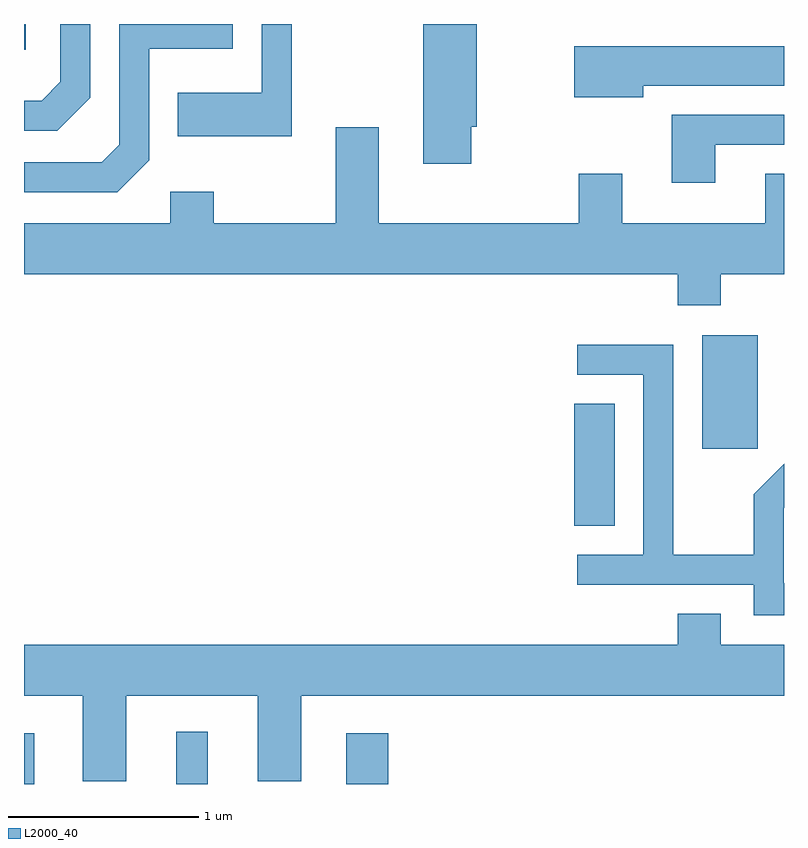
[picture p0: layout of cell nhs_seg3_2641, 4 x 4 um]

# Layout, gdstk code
import gdstk
lib = gdstk.Library(unit=1e-6, precision=1e-09)
def R(c, l, rs):  # rectangles x0, y0, x1, y1
    for r in rs: c.add(gdstk.rectangle(r[:2], r[2:], *l))
def P(c, l, *ps):  # polygons
    for p in ps: c.add(gdstk.Polygon(p, *l))
L2000_40 = (2000, 40)

nhs_seg3_2641 = lib.new_cell('nhs_seg3_2641')
R(nhs_seg3_2641, L2000_40, [(261.611,1229.892,261.664,1230.159), (262.411,1229.892,262.579,1230.168), (263.306,1229.892,263.529,1230.159), (264.506,1231.251,264.719,1231.894), (265.181,1231.656,265.474,1232.254), (261.611,1233.756,261.619,1233.892)])
P(nhs_seg3_2641, L2000_40, [(261.959,1233.504),(261.959,1233.892),(261.801,1233.892),(261.801,1233.587),(261.704,1233.489),(261.611,1233.489),(261.611,1233.331),(261.787,1233.331)],
  [(263.964,1233.351),(263.994,1233.351),(263.994,1233.892),(263.711,1233.892),(263.711,1233.156),(263.964,1233.156)],
  [(263.019,1233.892),(262.861,1233.892),(262.861,1233.529),(262.421,1233.529),(262.421,1233.301),(263.019,1233.301)],
  [(262.269,1233.174),(262.269,1233.761),(262.709,1233.761),(262.709,1233.892),(262.111,1233.892),(262.111,1233.257),(262.019,1233.164),(261.611,1233.164),(261.611,1233.006),(262.102,1233.006)],
  [(264.869,1233.566),(265.611,1233.566),(265.611,1233.774),(264.506,1233.774),(264.506,1233.506),(264.869,1233.506)],
  [(265.249,1233.256),(265.611,1233.256),(265.611,1233.414),(265.021,1233.414),(265.021,1233.056),(265.249,1233.056)],
  [(265.279,1232.576),(265.611,1232.576),(265.611,1233.104),(265.511,1233.104),(265.511,1232.844),(264.759,1232.844),(264.759,1233.104),(264.531,1233.104),(264.531,1232.844),(263.479,1232.844),(263.479,1233.349),(263.251,1233.349),(263.251,1232.844),(262.609,1232.844),(262.609,1233.009),(262.381,1233.009),(262.381,1232.844),(261.611,1232.844),(261.611,1232.576),(265.051,1232.576),(265.051,1232.411),(265.279,1232.411)],
  [(265.611,1230.949),(265.609,1230.949),(265.609,1231.344),(265.611,1231.346),(265.611,1231.577),(265.451,1231.417),(265.451,1231.099),(265.029,1231.099),(265.029,1232.204),(264.523,1232.204),(264.523,1232.046),(264.871,1232.046),(264.871,1231.099),(264.523,1231.099),(264.523,1230.941),(265.451,1230.941),(265.451,1230.781),(265.611,1230.781)],
  [(262.149,1230.356),(262.841,1230.356),(262.841,1229.906),(263.069,1229.906),(263.069,1230.356),(265.611,1230.356),(265.611,1230.624),(265.279,1230.624),(265.279,1230.789),(265.051,1230.789),(265.051,1230.624),(261.611,1230.624),(261.611,1230.356),(261.921,1230.356),(261.921,1229.906),(262.149,1229.906)])

lib.write_gds('nhs_seg3_2641.gds')
